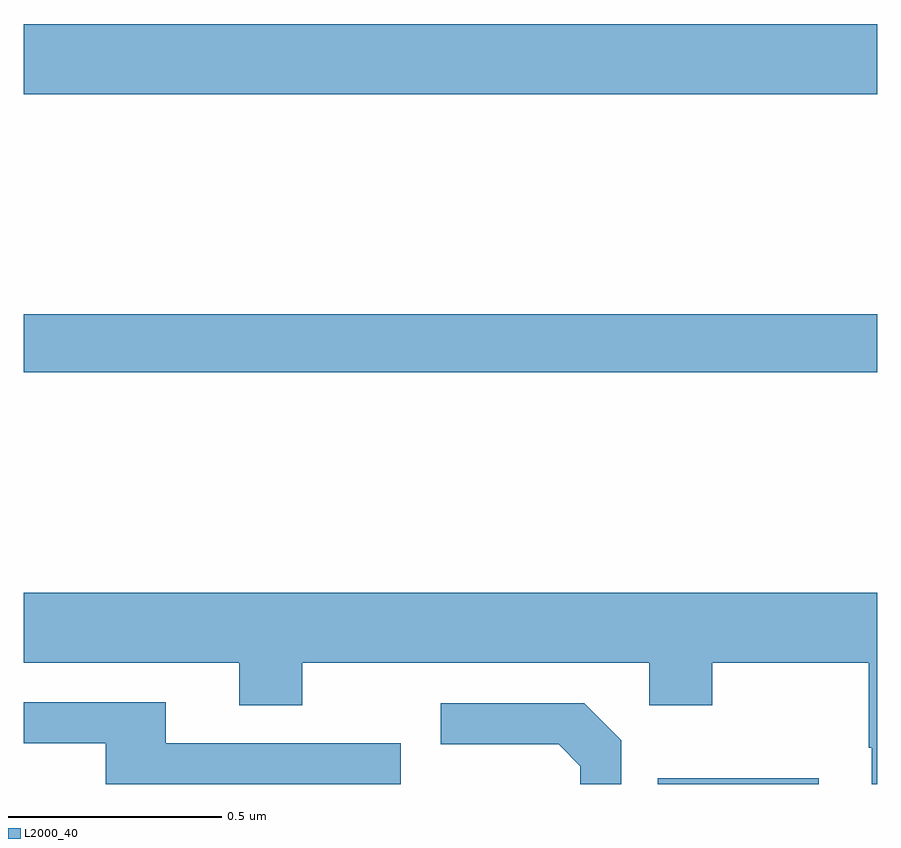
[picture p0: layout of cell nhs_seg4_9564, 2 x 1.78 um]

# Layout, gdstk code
import gdstk
lib = gdstk.Library(unit=1e-6, precision=1e-09)
def R(c, l, rs):  # rectangles x0, y0, x1, y1
    for r in rs: c.add(gdstk.rectangle(r[:2], r[2:], *l))
def P(c, l, *ps):  # polygons
    for p in ps: c.add(gdstk.Polygon(p, *l))
L2000_40 = (2000, 40)

nhs_seg4_9564 = lib.new_cell('nhs_seg4_9564')
R(nhs_seg4_9564, L2000_40, [(230.485,765.9,230.863,765.913), (229,766.864,231,767), (229,767.516,231,767.68)])
P(nhs_seg4_9564, L2000_40, [(229,766.184),(229.505,766.184),(229.505,766.085),(229.653,766.085),(229.653,766.184),(230.466,766.184),(230.466,766.085),(230.613,766.085),(230.613,766.184),(230.98,766.184),(230.98,765.985),(230.987,765.985),(230.987,765.9),(231,765.9),(231,766.348),(229,766.348)],
  [(229.884,765.996),(229.333,765.996),(229.333,766.092),(229,766.092),(229,765.996),(229.193,765.996),(229.193,765.9),(229.884,765.9)],
  [(230.4,766.002),(230.313,766.089),(229.977,766.089),(229.977,765.993),(230.253,765.993),(230.304,765.942),(230.304,765.9),(230.4,765.9)])

lib.write_gds('nhs_seg4_9564.gds')
